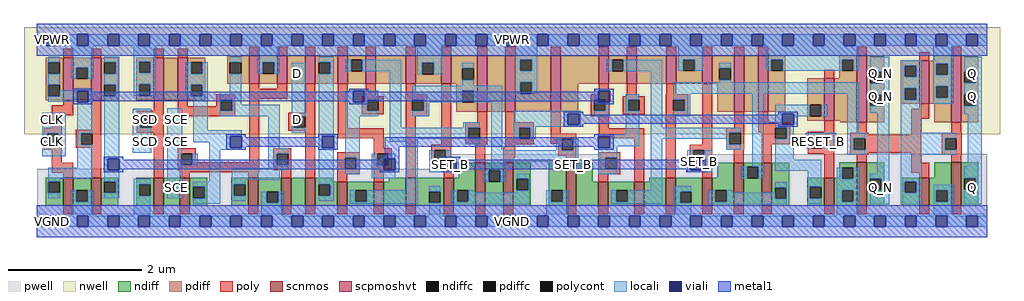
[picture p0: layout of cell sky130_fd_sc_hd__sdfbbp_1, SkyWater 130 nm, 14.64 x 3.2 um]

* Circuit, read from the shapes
.subckt sky130_fd_sc_hd__sdfbbp_1 CLK D RESET_B SCD SCE SET_B VGND VNB VPB VPWR Q Q_N
XM1 VGND CLK n1 VNB sky130_fd_pr__nfet_01v8 w=0.42 l=0.15
XM2 n2 n1 VGND VNB sky130_fd_pr__nfet_01v8 w=0.42 l=0.15
XM3 n3 SCD VGND VNB sky130_fd_pr__nfet_01v8 w=0.42 l=0.15
XM4 n4 SCE n3 VNB sky130_fd_pr__nfet_01v8 w=0.42 l=0.15
XM5 VGND SCE n5 VNB sky130_fd_pr__nfet_01v8 w=0.42 l=0.15
XM6 n6 n5 VGND VNB sky130_fd_pr__nfet_01v8 w=0.42 l=0.15
XM7 n4 D n6 VNB sky130_fd_pr__nfet_01v8 w=0.42 l=0.15
XM8 n7 n1 n4 VNB sky130_fd_pr__nfet_01v8 w=0.36 l=0.15
XM9 n8 n2 n7 VNB sky130_fd_pr__nfet_01v8 w=0.36 l=0.15
XM10 VGND n9 n8 VNB sky130_fd_pr__nfet_01v8 w=0.42 l=0.15
XM11 n10 SET_B VGND VNB sky130_fd_pr__nfet_01v8 w=0.42 l=0.15
XM12 n9 n7 n10 VNB sky130_fd_pr__nfet_01v8 w=0.64 l=0.15
XM13 n10 n11 n9 VNB sky130_fd_pr__nfet_01v8 w=0.64 l=0.15
XM14 n12 n9 VGND VNB sky130_fd_pr__nfet_01v8 w=0.64 l=0.15
XM15 n13 n2 n12 VNB sky130_fd_pr__nfet_01v8 w=0.36 l=0.15
XM16 n14 n1 n13 VNB sky130_fd_pr__nfet_01v8 w=0.36 l=0.15
XM17 VGND n15 n14 VNB sky130_fd_pr__nfet_01v8 w=0.42 l=0.15
XM18 n16 SET_B VGND VNB sky130_fd_pr__nfet_01v8 w=0.42 l=0.15
XM19 n15 n13 n16 VNB sky130_fd_pr__nfet_01v8 w=0.64 l=0.15
XM20 n16 n11 n15 VNB sky130_fd_pr__nfet_01v8 w=0.64 l=0.15
XM21 VGND RESET_B n11 VNB sky130_fd_pr__nfet_01v8 w=0.42 l=0.15
XM22 Q_N n15 VGND VNB sky130_fd_pr__nfet_01v8 w=0.65 l=0.15
XM23 VGND n15 n17 VNB sky130_fd_pr__nfet_01v8 w=0.42 l=0.15
XM24 Q n17 VGND VNB sky130_fd_pr__nfet_01v8 w=0.65 l=0.15
XM25 VPWR CLK n1 VPB sky130_fd_pr__pfet_01v8_hvt w=0.64 l=0.15
XM26 n2 n1 VPWR VPB sky130_fd_pr__pfet_01v8_hvt w=0.64 l=0.15
XM27 n18 SCD VPWR VPB sky130_fd_pr__pfet_01v8_hvt w=0.64 l=0.15
XM28 n4 n5 n18 VPB sky130_fd_pr__pfet_01v8_hvt w=0.64 l=0.15
XM29 VPWR SCE n5 VPB sky130_fd_pr__pfet_01v8_hvt w=0.42 l=0.15
XM30 n19 SCE VPWR VPB sky130_fd_pr__pfet_01v8_hvt w=0.42 l=0.15
XM31 n4 D n19 VPB sky130_fd_pr__pfet_01v8_hvt w=0.42 l=0.15
XM32 n7 n2 n4 VPB sky130_fd_pr__pfet_01v8_hvt w=0.42 l=0.15
XM33 n20 n1 n7 VPB sky130_fd_pr__pfet_01v8_hvt w=0.42 l=0.15
XM34 VPWR n9 n20 VPB sky130_fd_pr__pfet_01v8_hvt w=0.42 l=0.15
XM35 n9 SET_B VPWR VPB sky130_fd_pr__pfet_01v8_hvt w=0.42 l=0.15
XM36 n21 n7 n9 VPB sky130_fd_pr__pfet_01v8_hvt w=0.84 l=0.15
XM37 VPWR n11 n21 VPB sky130_fd_pr__pfet_01v8_hvt w=0.84 l=0.15
XM38 n22 n9 VPWR VPB sky130_fd_pr__pfet_01v8_hvt w=0.84 l=0.15
XM39 n13 n1 n22 VPB sky130_fd_pr__pfet_01v8_hvt w=0.42 l=0.15
XM40 n23 n2 n13 VPB sky130_fd_pr__pfet_01v8_hvt w=0.42 l=0.15
XM41 VPWR n15 n23 VPB sky130_fd_pr__pfet_01v8_hvt w=0.42 l=0.15
XM42 n15 SET_B VPWR VPB sky130_fd_pr__pfet_01v8_hvt w=0.42 l=0.15
XM43 n24 n13 n15 VPB sky130_fd_pr__pfet_01v8_hvt w=0.84 l=0.15
XM44 VPWR n11 n24 VPB sky130_fd_pr__pfet_01v8_hvt w=0.84 l=0.15
XM45 VPWR RESET_B n11 VPB sky130_fd_pr__pfet_01v8_hvt w=0.64 l=0.15
XM46 Q_N n15 VPWR VPB sky130_fd_pr__pfet_01v8_hvt w=1 l=0.15
XM47 VPWR n15 n17 VPB sky130_fd_pr__pfet_01v8_hvt w=0.64 l=0.15
XM48 Q n17 VPWR VPB sky130_fd_pr__pfet_01v8_hvt w=1 l=0.15
.ends

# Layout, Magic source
magic
tech sky130A
magscale 1 2
<< nwell >>
rect -38 261 2890 582
<< pwell >>
rect 2382 201 2851 203
rect 1240 157 1694 201
rect 2015 157 2851 201
rect 1 21 2851 157
rect 29 -17 63 21
<< scnmos >>
rect 79 47 109 131
rect 163 47 193 131
rect 351 47 381 131
rect 429 47 459 131
rect 635 47 665 131
rect 734 47 764 131
rect 806 47 836 131
rect 901 47 931 119
rect 1011 47 1041 119
rect 1107 47 1137 131
rect 1221 47 1251 131
rect 1316 47 1346 175
rect 1400 47 1430 175
rect 1588 47 1618 175
rect 1684 47 1714 119
rect 1792 47 1822 119
rect 1887 47 1917 131
rect 1996 47 2026 131
rect 2091 47 2121 175
rect 2175 47 2205 175
rect 2363 47 2393 131
rect 2460 47 2490 177
rect 2648 47 2678 131
rect 2743 47 2773 177
<< scpmoshvt >>
rect 79 363 109 491
rect 163 363 193 491
rect 351 363 381 491
rect 423 363 453 491
rect 638 413 668 497
rect 722 413 752 497
rect 806 413 836 497
rect 903 413 933 497
rect 987 413 1017 497
rect 1107 413 1137 497
rect 1213 413 1243 497
rect 1321 329 1351 497
rect 1405 329 1435 497
rect 1542 329 1572 497
rect 1686 413 1716 497
rect 1770 413 1800 497
rect 1888 413 1918 497
rect 1996 413 2026 497
rect 2092 329 2122 497
rect 2164 329 2194 497
rect 2363 301 2393 429
rect 2460 297 2490 497
rect 2648 353 2678 481
rect 2743 297 2773 497
<< ndiff >>
rect 27 119 79 131
rect 27 85 35 119
rect 69 85 79 119
rect 27 47 79 85
rect 109 93 163 131
rect 109 59 119 93
rect 153 59 163 93
rect 109 47 163 59
rect 193 119 245 131
rect 193 85 203 119
rect 237 85 245 119
rect 193 47 245 85
rect 299 111 351 131
rect 299 77 307 111
rect 341 77 351 111
rect 299 47 351 77
rect 381 47 429 131
rect 459 103 512 131
rect 459 69 470 103
rect 504 69 512 103
rect 459 47 512 69
rect 583 111 635 131
rect 583 77 591 111
rect 625 77 635 111
rect 583 47 635 77
rect 665 89 734 131
rect 665 55 690 89
rect 724 55 734 89
rect 665 47 734 55
rect 764 47 806 131
rect 836 119 886 131
rect 1266 131 1316 175
rect 1056 119 1107 131
rect 836 111 901 119
rect 836 77 846 111
rect 880 77 901 111
rect 836 47 901 77
rect 931 93 1011 119
rect 931 59 956 93
rect 990 59 1011 93
rect 931 47 1011 59
rect 1041 47 1107 119
rect 1137 89 1221 131
rect 1137 55 1177 89
rect 1211 55 1221 89
rect 1137 47 1221 55
rect 1251 93 1316 131
rect 1251 59 1261 93
rect 1295 59 1316 93
rect 1251 47 1316 59
rect 1346 153 1400 175
rect 1346 119 1356 153
rect 1390 119 1400 153
rect 1346 47 1400 119
rect 1430 127 1482 175
rect 1430 93 1440 127
rect 1474 93 1482 127
rect 1430 47 1482 93
rect 1536 93 1588 175
rect 1536 59 1544 93
rect 1578 59 1588 93
rect 1536 47 1588 59
rect 1618 119 1668 175
rect 2041 131 2091 175
rect 1837 119 1887 131
rect 1618 47 1684 119
rect 1714 93 1792 119
rect 1714 59 1739 93
rect 1773 59 1792 93
rect 1714 47 1792 59
rect 1822 47 1887 119
rect 1917 89 1996 131
rect 1917 55 1930 89
rect 1964 55 1996 89
rect 1917 47 1996 55
rect 2026 93 2091 131
rect 2026 59 2036 93
rect 2070 59 2091 93
rect 2026 47 2091 59
rect 2121 163 2175 175
rect 2121 129 2131 163
rect 2165 129 2175 163
rect 2121 47 2175 129
rect 2205 101 2257 175
rect 2408 161 2460 177
rect 2408 131 2416 161
rect 2205 67 2215 101
rect 2249 67 2257 101
rect 2205 47 2257 67
rect 2311 103 2363 131
rect 2311 69 2319 103
rect 2353 69 2363 103
rect 2311 47 2363 69
rect 2393 127 2416 131
rect 2450 127 2460 161
rect 2393 93 2460 127
rect 2393 59 2416 93
rect 2450 59 2460 93
rect 2393 47 2460 59
rect 2490 127 2542 177
rect 2693 131 2743 177
rect 2490 93 2500 127
rect 2534 93 2542 127
rect 2490 47 2542 93
rect 2596 119 2648 131
rect 2596 85 2604 119
rect 2638 85 2648 119
rect 2596 47 2648 85
rect 2678 93 2743 131
rect 2678 59 2699 93
rect 2733 59 2743 93
rect 2678 47 2743 59
rect 2773 129 2825 177
rect 2773 95 2783 129
rect 2817 95 2825 129
rect 2773 47 2825 95
<< pdiff >>
rect 27 477 79 491
rect 27 443 35 477
rect 69 443 79 477
rect 27 409 79 443
rect 27 375 35 409
rect 69 375 79 409
rect 27 363 79 375
rect 109 461 163 491
rect 109 427 119 461
rect 153 427 163 461
rect 109 363 163 427
rect 193 477 245 491
rect 193 443 203 477
rect 237 443 245 477
rect 193 409 245 443
rect 193 375 203 409
rect 237 375 245 409
rect 193 363 245 375
rect 299 479 351 491
rect 299 445 307 479
rect 341 445 351 479
rect 299 411 351 445
rect 299 377 307 411
rect 341 377 351 411
rect 299 363 351 377
rect 381 363 423 491
rect 453 477 505 491
rect 453 443 463 477
rect 497 443 505 477
rect 453 409 505 443
rect 571 477 638 497
rect 571 443 579 477
rect 613 443 638 477
rect 571 413 638 443
rect 668 477 722 497
rect 668 443 678 477
rect 712 443 722 477
rect 668 413 722 443
rect 752 413 806 497
rect 836 477 903 497
rect 836 443 846 477
rect 880 443 903 477
rect 836 413 903 443
rect 933 484 987 497
rect 933 450 943 484
rect 977 450 987 484
rect 933 413 987 450
rect 1017 413 1107 497
rect 1137 475 1213 497
rect 1137 441 1157 475
rect 1191 441 1213 475
rect 1137 413 1213 441
rect 1243 459 1321 497
rect 1243 425 1277 459
rect 1311 425 1321 459
rect 1243 413 1321 425
rect 453 375 463 409
rect 497 375 505 409
rect 453 363 505 375
rect 1259 391 1321 413
rect 1259 357 1277 391
rect 1311 357 1321 391
rect 1259 329 1321 357
rect 1351 329 1405 497
rect 1435 485 1542 497
rect 1435 451 1451 485
rect 1485 451 1542 485
rect 1435 417 1542 451
rect 1435 383 1451 417
rect 1485 383 1542 417
rect 1435 329 1542 383
rect 1572 413 1686 497
rect 1716 484 1770 497
rect 1716 450 1726 484
rect 1760 450 1770 484
rect 1716 413 1770 450
rect 1800 413 1888 497
rect 1918 485 1996 497
rect 1918 451 1940 485
rect 1974 451 1996 485
rect 1918 413 1996 451
rect 2026 459 2092 497
rect 2026 425 2048 459
rect 2082 425 2092 459
rect 2026 413 2092 425
rect 1572 329 1624 413
rect 2041 329 2092 413
rect 2122 329 2164 497
rect 2194 485 2246 497
rect 2194 451 2204 485
rect 2238 451 2246 485
rect 2408 485 2460 497
rect 2194 329 2246 451
rect 2408 451 2416 485
rect 2450 451 2460 485
rect 2408 429 2460 451
rect 2311 349 2363 429
rect 2311 315 2319 349
rect 2353 315 2363 349
rect 2311 301 2363 315
rect 2393 301 2460 429
rect 2410 297 2460 301
rect 2490 448 2542 497
rect 2693 481 2743 497
rect 2490 414 2500 448
rect 2534 414 2542 448
rect 2490 380 2542 414
rect 2490 346 2500 380
rect 2534 346 2542 380
rect 2596 467 2648 481
rect 2596 433 2604 467
rect 2638 433 2648 467
rect 2596 399 2648 433
rect 2596 365 2604 399
rect 2638 365 2648 399
rect 2596 353 2648 365
rect 2678 473 2743 481
rect 2678 439 2699 473
rect 2733 439 2743 473
rect 2678 405 2743 439
rect 2678 371 2699 405
rect 2733 371 2743 405
rect 2678 353 2743 371
rect 2490 297 2542 346
rect 2693 297 2743 353
rect 2773 449 2825 497
rect 2773 415 2783 449
rect 2817 415 2825 449
rect 2773 381 2825 415
rect 2773 347 2783 381
rect 2817 347 2825 381
rect 2773 297 2825 347
<< ndiffc >>
rect 35 85 69 119
rect 119 59 153 93
rect 203 85 237 119
rect 307 77 341 111
rect 470 69 504 103
rect 591 77 625 111
rect 690 55 724 89
rect 846 77 880 111
rect 956 59 990 93
rect 1177 55 1211 89
rect 1261 59 1295 93
rect 1356 119 1390 153
rect 1440 93 1474 127
rect 1544 59 1578 93
rect 1739 59 1773 93
rect 1930 55 1964 89
rect 2036 59 2070 93
rect 2131 129 2165 163
rect 2215 67 2249 101
rect 2319 69 2353 103
rect 2416 127 2450 161
rect 2416 59 2450 93
rect 2500 93 2534 127
rect 2604 85 2638 119
rect 2699 59 2733 93
rect 2783 95 2817 129
<< pdiffc >>
rect 35 443 69 477
rect 35 375 69 409
rect 119 427 153 461
rect 203 443 237 477
rect 203 375 237 409
rect 307 445 341 479
rect 307 377 341 411
rect 463 443 497 477
rect 579 443 613 477
rect 678 443 712 477
rect 846 443 880 477
rect 943 450 977 484
rect 1157 441 1191 475
rect 1277 425 1311 459
rect 463 375 497 409
rect 1277 357 1311 391
rect 1451 451 1485 485
rect 1451 383 1485 417
rect 1726 450 1760 484
rect 1940 451 1974 485
rect 2048 425 2082 459
rect 2204 451 2238 485
rect 2416 451 2450 485
rect 2319 315 2353 349
rect 2500 414 2534 448
rect 2500 346 2534 380
rect 2604 433 2638 467
rect 2604 365 2638 399
rect 2699 439 2733 473
rect 2699 371 2733 405
rect 2783 415 2817 449
rect 2783 347 2817 381
<< poly >>
rect 79 491 109 517
rect 163 491 193 517
rect 351 491 381 517
rect 423 491 453 517
rect 638 497 668 523
rect 722 497 752 523
rect 806 497 836 523
rect 903 497 933 523
rect 987 497 1017 523
rect 1107 497 1137 523
rect 1213 497 1243 523
rect 1321 497 1351 523
rect 1405 497 1435 523
rect 1542 497 1572 523
rect 1686 497 1716 523
rect 1770 497 1800 523
rect 1888 497 1918 523
rect 1996 497 2026 523
rect 2092 497 2122 523
rect 2164 497 2194 523
rect 2460 497 2490 523
rect 638 397 668 413
rect 722 397 752 413
rect 539 365 596 381
rect 79 348 109 363
rect 45 318 109 348
rect 45 280 75 318
rect 21 264 75 280
rect 163 274 193 363
rect 351 331 381 363
rect 21 230 31 264
rect 65 230 75 264
rect 21 214 75 230
rect 117 264 193 274
rect 300 315 381 331
rect 423 345 453 363
rect 539 345 552 365
rect 423 331 552 345
rect 586 331 596 365
rect 423 315 596 331
rect 638 367 752 397
rect 300 281 310 315
rect 344 281 381 315
rect 300 265 381 281
rect 117 230 133 264
rect 167 230 193 264
rect 117 220 193 230
rect 45 176 75 214
rect 45 146 109 176
rect 79 131 109 146
rect 163 131 193 220
rect 351 131 381 265
rect 423 203 477 219
rect 423 169 433 203
rect 467 177 477 203
rect 638 177 668 367
rect 806 325 836 413
rect 755 315 836 325
rect 755 281 771 315
rect 805 281 836 315
rect 755 271 836 281
rect 467 169 668 177
rect 423 153 668 169
rect 710 203 764 219
rect 710 169 720 203
rect 754 169 764 203
rect 710 153 764 169
rect 429 147 668 153
rect 429 131 459 147
rect 635 131 665 147
rect 734 131 764 153
rect 806 131 836 271
rect 903 279 933 413
rect 987 375 1017 413
rect 1107 381 1137 413
rect 975 365 1041 375
rect 975 331 991 365
rect 1025 331 1041 365
rect 975 321 1041 331
rect 1107 365 1171 381
rect 1107 331 1127 365
rect 1161 331 1171 365
rect 1107 315 1171 331
rect 903 249 1041 279
rect 1011 219 1041 249
rect 901 191 969 207
rect 901 157 925 191
rect 959 157 969 191
rect 901 141 969 157
rect 1011 203 1065 219
rect 1011 169 1021 203
rect 1055 169 1065 203
rect 1011 153 1065 169
rect 901 119 931 141
rect 1011 119 1041 153
rect 1107 131 1137 315
rect 1213 229 1243 413
rect 1686 381 1716 413
rect 1662 365 1716 381
rect 1770 375 1800 413
rect 1888 381 1918 413
rect 1662 331 1672 365
rect 1706 331 1716 365
rect 1321 297 1351 329
rect 1285 281 1351 297
rect 1285 247 1295 281
rect 1329 247 1351 281
rect 1285 231 1351 247
rect 1405 297 1435 329
rect 1405 281 1491 297
rect 1405 247 1447 281
rect 1481 247 1491 281
rect 1405 231 1491 247
rect 1542 263 1572 329
rect 1662 315 1716 331
rect 1758 365 1824 375
rect 1758 331 1774 365
rect 1808 331 1824 365
rect 1758 321 1824 331
rect 1887 365 1954 381
rect 1887 331 1910 365
rect 1944 331 1954 365
rect 1686 279 1716 315
rect 1887 315 1954 331
rect 1542 247 1619 263
rect 1686 249 1822 279
rect 1542 233 1575 247
rect 1183 213 1243 229
rect 1183 179 1193 213
rect 1227 193 1243 213
rect 1227 179 1251 193
rect 1183 163 1251 179
rect 1316 175 1346 231
rect 1405 220 1435 231
rect 1400 190 1435 220
rect 1565 213 1575 233
rect 1609 213 1619 247
rect 1565 197 1619 213
rect 1400 175 1430 190
rect 1588 175 1618 197
rect 1684 191 1750 207
rect 1221 131 1251 163
rect 1684 157 1706 191
rect 1740 157 1750 191
rect 1684 141 1750 157
rect 1684 119 1714 141
rect 1792 119 1822 249
rect 1887 131 1917 315
rect 1996 229 2026 413
rect 2363 429 2393 455
rect 2092 281 2122 329
rect 1959 213 2026 229
rect 2068 265 2122 281
rect 2164 297 2194 329
rect 2164 281 2260 297
rect 2164 267 2216 281
rect 2068 231 2078 265
rect 2112 231 2122 265
rect 2068 215 2122 231
rect 2175 247 2216 267
rect 2250 247 2260 281
rect 2363 269 2393 301
rect 2648 481 2678 507
rect 2743 497 2773 523
rect 2648 337 2678 353
rect 2623 307 2678 337
rect 2175 231 2260 247
rect 2313 253 2393 269
rect 2460 265 2490 297
rect 1959 179 1969 213
rect 2003 179 2026 213
rect 1959 163 2026 179
rect 2091 175 2121 215
rect 2175 175 2205 231
rect 2313 219 2323 253
rect 2357 219 2393 253
rect 2313 203 2393 219
rect 1996 131 2026 163
rect 2363 131 2393 203
rect 2441 259 2495 265
rect 2623 259 2653 307
rect 2743 265 2773 297
rect 2441 249 2653 259
rect 2441 215 2451 249
rect 2485 215 2653 249
rect 2441 205 2653 215
rect 2441 199 2495 205
rect 2460 177 2490 199
rect 2623 176 2653 205
rect 2715 249 2775 265
rect 2715 215 2725 249
rect 2759 215 2775 249
rect 2715 199 2775 215
rect 2743 177 2773 199
rect 2623 146 2678 176
rect 2648 131 2678 146
rect 79 21 109 47
rect 163 21 193 47
rect 351 21 381 47
rect 429 21 459 47
rect 635 21 665 47
rect 734 21 764 47
rect 806 21 836 47
rect 901 21 931 47
rect 1011 21 1041 47
rect 1107 21 1137 47
rect 1221 21 1251 47
rect 1316 21 1346 47
rect 1400 21 1430 47
rect 1588 21 1618 47
rect 1684 21 1714 47
rect 1792 21 1822 47
rect 1887 21 1917 47
rect 1996 21 2026 47
rect 2091 21 2121 47
rect 2175 21 2205 47
rect 2363 21 2393 47
rect 2460 21 2490 47
rect 2648 21 2678 47
rect 2743 21 2773 47
<< polycont >>
rect 31 230 65 264
rect 552 331 586 365
rect 310 281 344 315
rect 133 230 167 264
rect 433 169 467 203
rect 771 281 805 315
rect 720 169 754 203
rect 991 331 1025 365
rect 1127 331 1161 365
rect 925 157 959 191
rect 1021 169 1055 203
rect 1672 331 1706 365
rect 1295 247 1329 281
rect 1447 247 1481 281
rect 1774 331 1808 365
rect 1910 331 1944 365
rect 1193 179 1227 213
rect 1575 213 1609 247
rect 1706 157 1740 191
rect 2078 231 2112 265
rect 2216 247 2250 281
rect 1969 179 2003 213
rect 2323 219 2357 253
rect 2451 215 2485 249
rect 2725 215 2759 249
<< locali >>
rect 0 527 29 561
rect 63 527 121 561
rect 155 527 213 561
rect 247 527 305 561
rect 339 527 397 561
rect 431 527 489 561
rect 523 527 581 561
rect 615 527 673 561
rect 707 527 765 561
rect 799 527 857 561
rect 891 527 949 561
rect 983 527 1041 561
rect 1075 527 1133 561
rect 1167 527 1225 561
rect 1259 527 1317 561
rect 1351 527 1409 561
rect 1443 527 1501 561
rect 1535 527 1593 561
rect 1627 527 1685 561
rect 1719 527 1777 561
rect 1811 527 1869 561
rect 1903 527 1961 561
rect 1995 527 2053 561
rect 2087 527 2145 561
rect 2179 527 2237 561
rect 2271 527 2329 561
rect 2363 527 2421 561
rect 2455 527 2513 561
rect 2547 527 2605 561
rect 2639 527 2697 561
rect 2731 527 2789 561
rect 2823 527 2852 561
rect 34 477 69 493
rect 34 443 35 477
rect 34 409 69 443
rect 103 461 169 527
rect 103 427 119 461
rect 153 427 169 461
rect 203 477 248 493
rect 237 443 248 477
rect 34 375 35 409
rect 203 409 248 443
rect 69 391 167 393
rect 69 375 121 391
rect 34 359 121 375
rect 155 357 167 391
rect 17 264 87 325
rect 17 230 31 264
rect 65 230 87 264
rect 17 195 87 230
rect 121 264 167 357
rect 121 230 133 264
rect 121 161 167 230
rect 34 127 167 161
rect 237 375 248 409
rect 291 479 357 527
rect 291 445 307 479
rect 341 445 357 479
rect 579 477 613 493
rect 291 411 357 445
rect 291 377 307 411
rect 341 377 357 411
rect 447 443 463 477
rect 497 443 513 477
rect 447 409 513 443
rect 447 375 463 409
rect 497 375 513 409
rect 662 477 728 527
rect 662 443 678 477
rect 712 443 728 477
rect 846 477 891 493
rect 579 381 613 443
rect 203 187 248 375
rect 288 315 344 337
rect 288 281 310 315
rect 288 205 344 281
rect 203 153 213 187
rect 247 153 248 187
rect 34 119 69 127
rect 34 85 35 119
rect 203 119 248 153
rect 392 203 436 339
rect 470 273 513 375
rect 549 365 613 381
rect 549 331 552 365
rect 586 349 613 365
rect 586 331 729 349
rect 549 315 729 331
rect 470 255 615 273
rect 470 237 581 255
rect 517 221 581 237
rect 517 215 615 221
rect 695 219 729 315
rect 765 315 805 475
rect 765 281 771 315
rect 765 265 805 281
rect 880 443 891 477
rect 927 450 943 484
rect 977 450 1093 484
rect 846 255 891 443
rect 846 221 857 255
rect 392 169 433 203
rect 467 169 483 203
rect 34 69 69 85
rect 103 59 119 93
rect 153 59 169 93
rect 237 85 248 119
rect 203 69 248 85
rect 291 111 341 127
rect 291 77 307 111
rect 103 17 169 59
rect 291 17 341 77
rect 392 69 436 169
rect 517 119 551 215
rect 695 203 754 219
rect 695 169 720 203
rect 695 159 754 169
rect 470 103 551 119
rect 504 69 551 103
rect 470 53 551 69
rect 585 153 754 159
rect 585 125 729 153
rect 585 111 625 125
rect 585 77 591 111
rect 846 111 891 221
rect 925 357 949 391
rect 983 365 1025 391
rect 983 357 991 365
rect 925 331 991 357
rect 925 315 1025 331
rect 925 191 969 315
rect 1059 281 1093 450
rect 1141 475 1217 527
rect 1435 485 1501 527
rect 1141 441 1157 475
rect 1191 441 1217 475
rect 1277 459 1311 475
rect 1277 407 1311 425
rect 1435 451 1451 485
rect 1485 451 1501 485
rect 1924 485 2000 527
rect 1435 417 1501 451
rect 1710 450 1726 484
rect 1760 450 1876 484
rect 1924 451 1940 485
rect 1974 451 2000 485
rect 2188 485 2466 527
rect 2048 459 2082 475
rect 1127 391 1397 407
rect 1127 365 1277 391
rect 1161 357 1277 365
rect 1311 357 1397 391
rect 1435 383 1451 417
rect 1485 383 1501 417
rect 1672 391 1719 397
rect 1161 331 1177 357
rect 1127 315 1177 331
rect 1279 281 1329 297
rect 1059 247 1295 281
rect 1059 239 1143 247
rect 959 157 969 191
rect 925 141 969 157
rect 1005 169 1021 203
rect 1055 187 1075 203
rect 1005 153 1041 169
rect 1005 129 1075 153
rect 585 61 625 77
rect 674 55 690 89
rect 724 55 740 89
rect 880 77 891 111
rect 1109 93 1143 239
rect 1285 231 1329 247
rect 1363 213 1397 357
rect 1672 365 1685 391
rect 1706 331 1719 357
rect 1431 323 1632 331
rect 1431 289 1593 323
rect 1627 289 1632 323
rect 1672 315 1719 331
rect 1767 365 1808 381
rect 1767 331 1774 365
rect 1431 283 1632 289
rect 1431 281 1497 283
rect 1431 247 1447 281
rect 1481 247 1497 281
rect 1767 261 1808 331
rect 1684 255 1808 261
rect 1559 213 1575 247
rect 1609 213 1625 247
rect 1177 179 1193 213
rect 1227 193 1243 213
rect 1227 187 1259 193
rect 1177 153 1225 179
rect 1363 179 1625 213
rect 1684 221 1685 255
rect 1719 225 1808 255
rect 1842 281 1876 450
rect 2188 451 2204 485
rect 2238 451 2416 485
rect 2450 451 2466 485
rect 2048 417 2082 425
rect 2500 448 2557 493
rect 1910 383 2466 417
rect 1910 365 1960 383
rect 1944 331 1960 365
rect 1910 315 1960 331
rect 1842 265 2112 281
rect 1842 247 2078 265
rect 1719 221 1741 225
rect 1684 191 1741 221
rect 1363 153 1406 179
rect 1177 147 1259 153
rect 1340 119 1356 153
rect 1390 119 1406 153
rect 1684 157 1706 191
rect 1740 157 1741 191
rect 1440 127 1479 143
rect 1684 141 1741 157
rect 846 61 891 77
rect 674 17 740 55
rect 940 59 956 93
rect 990 59 1143 93
rect 940 53 1143 59
rect 1177 89 1211 105
rect 1474 93 1479 127
rect 1842 93 1876 247
rect 2068 231 2078 247
rect 2068 215 2112 231
rect 1951 187 1969 213
rect 1951 153 1961 187
rect 2003 179 2026 213
rect 1995 153 2026 179
rect 2146 163 2181 383
rect 1951 147 2026 153
rect 2115 129 2131 163
rect 2165 129 2181 163
rect 2216 323 2319 349
rect 2216 289 2237 323
rect 2271 315 2319 323
rect 2353 315 2371 349
rect 2216 281 2271 289
rect 2250 247 2271 281
rect 2432 265 2466 383
rect 2534 414 2557 448
rect 2500 380 2557 414
rect 2534 346 2557 380
rect 2500 326 2557 346
rect 2216 185 2271 247
rect 2307 253 2398 265
rect 2307 219 2323 253
rect 2357 219 2398 253
rect 2432 249 2485 265
rect 2432 215 2451 249
rect 2432 199 2485 215
rect 2216 151 2353 185
rect 1177 17 1211 55
rect 1245 59 1261 93
rect 1295 85 1311 93
rect 1440 85 1479 93
rect 1295 59 1479 85
rect 1245 51 1479 59
rect 1528 59 1544 93
rect 1578 59 1595 93
rect 1528 17 1595 59
rect 1723 59 1739 93
rect 1773 59 1876 93
rect 1723 53 1876 59
rect 1912 89 1964 105
rect 2215 101 2250 117
rect 1912 55 1930 89
rect 1912 17 1964 55
rect 2016 59 2036 93
rect 2070 85 2086 93
rect 2070 67 2215 85
rect 2249 67 2250 101
rect 2070 59 2250 67
rect 2016 51 2250 59
rect 2313 103 2353 151
rect 2313 69 2319 103
rect 2313 53 2353 69
rect 2400 127 2416 161
rect 2450 127 2466 161
rect 2521 143 2557 326
rect 2400 93 2466 127
rect 2400 59 2416 93
rect 2450 59 2466 93
rect 2400 17 2466 59
rect 2500 127 2557 143
rect 2534 93 2557 127
rect 2500 51 2557 93
rect 2592 467 2655 483
rect 2592 433 2604 467
rect 2638 433 2655 467
rect 2592 399 2655 433
rect 2592 365 2604 399
rect 2638 365 2655 399
rect 2592 265 2655 365
rect 2690 473 2749 527
rect 2690 439 2699 473
rect 2733 439 2749 473
rect 2690 405 2749 439
rect 2690 371 2699 405
rect 2733 371 2749 405
rect 2690 353 2749 371
rect 2783 449 2835 493
rect 2817 415 2835 449
rect 2783 381 2835 415
rect 2817 347 2835 381
rect 2783 321 2835 347
rect 2592 249 2759 265
rect 2592 215 2725 249
rect 2592 199 2759 215
rect 2592 119 2655 199
rect 2793 165 2835 321
rect 2592 85 2604 119
rect 2638 85 2655 119
rect 2783 129 2835 165
rect 2592 51 2655 85
rect 2691 93 2749 109
rect 2691 59 2699 93
rect 2733 59 2749 93
rect 2691 17 2749 59
rect 2817 95 2835 129
rect 2783 51 2835 95
rect 0 -17 29 17
rect 63 -17 121 17
rect 155 -17 213 17
rect 247 -17 305 17
rect 339 -17 397 17
rect 431 -17 489 17
rect 523 -17 581 17
rect 615 -17 673 17
rect 707 -17 765 17
rect 799 -17 857 17
rect 891 -17 949 17
rect 983 -17 1041 17
rect 1075 -17 1133 17
rect 1167 -17 1225 17
rect 1259 -17 1317 17
rect 1351 -17 1409 17
rect 1443 -17 1501 17
rect 1535 -17 1593 17
rect 1627 -17 1685 17
rect 1719 -17 1777 17
rect 1811 -17 1869 17
rect 1903 -17 1961 17
rect 1995 -17 2053 17
rect 2087 -17 2145 17
rect 2179 -17 2237 17
rect 2271 -17 2329 17
rect 2363 -17 2421 17
rect 2455 -17 2513 17
rect 2547 -17 2605 17
rect 2639 -17 2697 17
rect 2731 -17 2789 17
rect 2823 -17 2852 17
<< viali >>
rect 29 527 63 561
rect 121 527 155 561
rect 213 527 247 561
rect 305 527 339 561
rect 397 527 431 561
rect 489 527 523 561
rect 581 527 615 561
rect 673 527 707 561
rect 765 527 799 561
rect 857 527 891 561
rect 949 527 983 561
rect 1041 527 1075 561
rect 1133 527 1167 561
rect 1225 527 1259 561
rect 1317 527 1351 561
rect 1409 527 1443 561
rect 1501 527 1535 561
rect 1593 527 1627 561
rect 1685 527 1719 561
rect 1777 527 1811 561
rect 1869 527 1903 561
rect 1961 527 1995 561
rect 2053 527 2087 561
rect 2145 527 2179 561
rect 2237 527 2271 561
rect 2329 527 2363 561
rect 2421 527 2455 561
rect 2513 527 2547 561
rect 2605 527 2639 561
rect 2697 527 2731 561
rect 2789 527 2823 561
rect 121 357 155 391
rect 213 153 247 187
rect 581 221 615 255
rect 857 221 891 255
rect 949 357 983 391
rect 1041 169 1055 187
rect 1055 169 1075 187
rect 1041 153 1075 169
rect 1685 365 1719 391
rect 1685 357 1706 365
rect 1706 357 1719 365
rect 1593 289 1627 323
rect 1225 179 1227 187
rect 1227 179 1259 187
rect 1225 153 1259 179
rect 1685 221 1719 255
rect 1961 179 1969 187
rect 1969 179 1995 187
rect 1961 153 1995 179
rect 2237 289 2271 323
rect 29 -17 63 17
rect 121 -17 155 17
rect 213 -17 247 17
rect 305 -17 339 17
rect 397 -17 431 17
rect 489 -17 523 17
rect 581 -17 615 17
rect 673 -17 707 17
rect 765 -17 799 17
rect 857 -17 891 17
rect 949 -17 983 17
rect 1041 -17 1075 17
rect 1133 -17 1167 17
rect 1225 -17 1259 17
rect 1317 -17 1351 17
rect 1409 -17 1443 17
rect 1501 -17 1535 17
rect 1593 -17 1627 17
rect 1685 -17 1719 17
rect 1777 -17 1811 17
rect 1869 -17 1903 17
rect 1961 -17 1995 17
rect 2053 -17 2087 17
rect 2145 -17 2179 17
rect 2237 -17 2271 17
rect 2329 -17 2363 17
rect 2421 -17 2455 17
rect 2513 -17 2547 17
rect 2605 -17 2639 17
rect 2697 -17 2731 17
rect 2789 -17 2823 17
<< metal1 >>
rect 0 561 2852 592
rect 0 527 29 561
rect 63 527 121 561
rect 155 527 213 561
rect 247 527 305 561
rect 339 527 397 561
rect 431 527 489 561
rect 523 527 581 561
rect 615 527 673 561
rect 707 527 765 561
rect 799 527 857 561
rect 891 527 949 561
rect 983 527 1041 561
rect 1075 527 1133 561
rect 1167 527 1225 561
rect 1259 527 1317 561
rect 1351 527 1409 561
rect 1443 527 1501 561
rect 1535 527 1593 561
rect 1627 527 1685 561
rect 1719 527 1777 561
rect 1811 527 1869 561
rect 1903 527 1961 561
rect 1995 527 2053 561
rect 2087 527 2145 561
rect 2179 527 2237 561
rect 2271 527 2329 561
rect 2363 527 2421 561
rect 2455 527 2513 561
rect 2547 527 2605 561
rect 2639 527 2697 561
rect 2731 527 2789 561
rect 2823 527 2852 561
rect 0 496 2852 527
rect 109 391 167 397
rect 109 357 121 391
rect 155 388 167 391
rect 937 391 995 397
rect 937 388 949 391
rect 155 360 949 388
rect 155 357 167 360
rect 109 351 167 357
rect 937 357 949 360
rect 983 388 995 391
rect 1673 391 1731 397
rect 1673 388 1685 391
rect 983 360 1685 388
rect 983 357 995 360
rect 937 351 995 357
rect 1673 357 1685 360
rect 1719 357 1731 391
rect 1673 351 1731 357
rect 1581 323 1639 329
rect 1581 289 1593 323
rect 1627 320 1639 323
rect 2225 323 2283 329
rect 2225 320 2237 323
rect 1627 292 2237 320
rect 1627 289 1639 292
rect 1581 283 1639 289
rect 2225 289 2237 292
rect 2271 289 2283 323
rect 2225 283 2283 289
rect 569 255 627 261
rect 569 221 581 255
rect 615 252 627 255
rect 845 255 903 261
rect 845 252 857 255
rect 615 224 857 252
rect 615 221 627 224
rect 569 215 627 221
rect 845 221 857 224
rect 891 221 903 255
rect 1673 255 1731 261
rect 1673 252 1685 255
rect 845 215 903 221
rect 1044 224 1685 252
rect 1044 193 1087 224
rect 1673 221 1685 224
rect 1719 221 1731 255
rect 1673 215 1731 221
rect 201 187 259 193
rect 201 153 213 187
rect 247 184 259 187
rect 1029 187 1087 193
rect 1029 184 1041 187
rect 247 156 1041 184
rect 247 153 259 156
rect 201 147 259 153
rect 1029 153 1041 156
rect 1075 153 1087 187
rect 1029 147 1087 153
rect 1213 187 1271 193
rect 1213 153 1225 187
rect 1259 184 1271 187
rect 1949 187 2007 193
rect 1949 184 1961 187
rect 1259 156 1961 184
rect 1259 153 1271 156
rect 1213 147 1271 153
rect 1949 153 1961 156
rect 1995 153 2007 187
rect 1949 147 2007 153
rect 0 17 2852 48
rect 0 -17 29 17
rect 63 -17 121 17
rect 155 -17 213 17
rect 247 -17 305 17
rect 339 -17 397 17
rect 431 -17 489 17
rect 523 -17 581 17
rect 615 -17 673 17
rect 707 -17 765 17
rect 799 -17 857 17
rect 891 -17 949 17
rect 983 -17 1041 17
rect 1075 -17 1133 17
rect 1167 -17 1225 17
rect 1259 -17 1317 17
rect 1351 -17 1409 17
rect 1443 -17 1501 17
rect 1535 -17 1593 17
rect 1627 -17 1685 17
rect 1719 -17 1777 17
rect 1811 -17 1869 17
rect 1903 -17 1961 17
rect 1995 -17 2053 17
rect 2087 -17 2145 17
rect 2179 -17 2237 17
rect 2271 -17 2329 17
rect 2363 -17 2421 17
rect 2455 -17 2513 17
rect 2547 -17 2605 17
rect 2639 -17 2697 17
rect 2731 -17 2789 17
rect 2823 -17 2852 17
rect 0 -48 2852 -17
<< labels >>
flabel locali s 310 289 344 323 0 FreeSans 400 0 0 0 SCD
port 4 nsew signal input
flabel locali s 310 221 344 255 0 FreeSans 400 0 0 0 SCD
port 4 nsew signal input
flabel locali s 402 289 436 323 0 FreeSans 400 0 0 0 SCE
port 5 nsew signal input
flabel locali s 402 221 436 255 0 FreeSans 400 0 0 0 SCE
port 5 nsew signal input
flabel locali s 402 85 436 119 0 FreeSans 400 0 0 0 SCE
port 5 nsew signal input
flabel locali s 2329 221 2363 255 0 FreeSans 400 0 0 0 RESET_B
port 3 nsew signal input
flabel locali s 29 -17 63 17 3 FreeSans 400 0 0 0 VGND
port 7 nsew ground bidirectional abutment
flabel locali s 29 221 63 255 0 FreeSans 400 0 0 0 CLK
port 1 nsew clock input
flabel locali s 29 289 63 323 0 FreeSans 400 0 0 0 CLK
port 1 nsew clock input
flabel locali s 1225 153 1259 187 0 FreeSans 400 0 0 0 SET_B
port 6 nsew signal input
flabel locali s 2789 85 2823 119 0 FreeSans 400 0 0 0 Q
port 11 nsew signal output
flabel locali s 2789 357 2823 391 0 FreeSans 400 0 0 0 Q
port 11 nsew signal output
flabel locali s 2789 425 2823 459 0 FreeSans 400 0 0 0 Q
port 11 nsew signal output
flabel locali s 29 527 63 561 3 FreeSans 400 0 0 0 VPWR
port 10 nsew power bidirectional abutment
flabel locali s 765 289 799 323 0 FreeSans 200 0 0 0 D
port 2 nsew signal input
flabel locali s 765 425 799 459 0 FreeSans 200 0 0 0 D
port 2 nsew signal input
flabel locali s 2513 425 2547 459 0 FreeSans 400 0 0 0 Q_N
port 12 nsew signal output
flabel locali s 2513 357 2547 391 0 FreeSans 400 0 0 0 Q_N
port 12 nsew signal output
flabel locali s 2513 85 2547 119 0 FreeSans 400 0 0 0 Q_N
port 12 nsew signal output
flabel metal1 s 29 -17 63 17 0 FreeSans 200 0 0 0 VGND
port 7 nsew ground bidirectional abutment
flabel metal1 s 29 527 63 561 0 FreeSans 200 0 0 0 VPWR
port 10 nsew power bidirectional abutment
flabel nwell s 29 527 63 561 3 FreeSans 400 0 0 0 VPB
port 9 nsew power bidirectional
flabel nwell s 46 544 46 544 0 FreeSans 200 0 0 0 VPB
flabel pwell s 29 -17 63 17 3 FreeSans 400 0 0 0 VNB
port 8 nsew ground bidirectional
flabel pwell s 46 0 46 0 0 FreeSans 200 0 0 0 VNB
rlabel comment s 0 0 0 0 4 sdfbbp_1
rlabel locali s 1951 147 2026 213 1 SET_B
port 6 nsew signal input
rlabel metal1 s 1949 184 2007 193 1 SET_B
port 6 nsew signal input
rlabel metal1 s 1949 147 2007 156 1 SET_B
port 6 nsew signal input
rlabel metal1 s 1213 184 1271 193 1 SET_B
port 6 nsew signal input
rlabel metal1 s 1213 156 2007 184 1 SET_B
port 6 nsew signal input
rlabel metal1 s 1213 147 1271 156 1 SET_B
port 6 nsew signal input
rlabel metal1 s 0 -48 2852 48 1 VGND
port 7 nsew ground bidirectional abutment
rlabel metal1 s 0 496 2852 592 1 VPWR
port 10 nsew power bidirectional abutment
<< properties >>
string FIXED_BBOX 0 0 2852 544
string GDS_END 240892
string GDS_FILE $PDKPATH/libs.ref/sky130_fd_sc_hd/gds/sky130_fd_sc_hd.gds
string GDS_START 218578
string LEFclass CORE
string LEFsite unithd
string LEFsymmetry X Y R90
<< end >>
